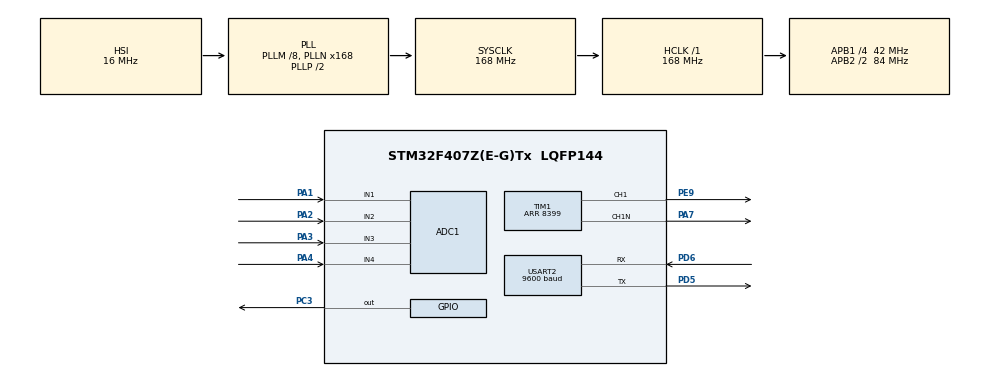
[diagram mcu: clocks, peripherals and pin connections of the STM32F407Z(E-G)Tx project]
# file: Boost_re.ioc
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ADC1.Channel-0\#ChannelRegularConversion=ADC_CHANNEL_1
ADC1.Channel-1\#ChannelRegularConversion=ADC_CHANNEL_2
ADC1.Channel-2\#ChannelRegularConversion=ADC_CHANNEL_3
ADC1.Channel-3\#ChannelRegularConversion=ADC_CHANNEL_4
ADC1.ContinuousConvMode=DISABLE
ADC1.DMAContinuousRequests=ENABLE
ADC1.DiscontinuousConvMode=DISABLE
ADC1.ExternalTrigConv=ADC_EXTERNALTRIGCONV_T3_TRGO
ADC1.InjNumberOfConversion=0
ADC1.NbrOfConversion=4
ADC1.NbrOfConversionFlag=1
ADC1.Rank-0\#ChannelRegularConversion=1
ADC1.Rank-1\#ChannelRegularConversion=2
ADC1.Rank-2\#ChannelRegularConversion=3
ADC1.Rank-3\#ChannelRegularConversion=4
ADC1.SamplingTime-0\#ChannelRegularConversion=ADC_SAMPLETIME_28CYCLES
ADC1.SamplingTime-1\#ChannelRegularConversion=ADC_SAMPLETIME_28CYCLES
ADC1.SamplingTime-2\#ChannelRegularConversion=ADC_SAMPLETIME_28CYCLES
ADC1.SamplingTime-3\#ChannelRegularConversion=ADC_SAMPLETIME_28CYCLES
ADC1.ScanConvMode=ENABLE
ADC1.master=1
Dma.ADC1.0.Direction=DMA_PERIPH_TO_MEMORY
Dma.ADC1.0.FIFOMode=DMA_FIFOMODE_DISABLE
Dma.ADC1.0.Instance=DMA2_Stream0
Dma.ADC1.0.MemDataAlignment=DMA_MDATAALIGN_HALFWORD
Dma.ADC1.0.MemInc=DMA_MINC_ENABLE
Dma.ADC1.0.Mode=DMA_CIRCULAR
Dma.ADC1.0.PeriphDataAlignment=DMA_PDATAALIGN_HALFWORD
Dma.ADC1.0.PeriphInc=DMA_PINC_DISABLE
Dma.ADC1.0.Priority=DMA_PRIORITY_LOW
Dma.Request0=ADC1
Mcu.Family=STM32F4
Mcu.Name=STM32F407Z(E-G)Tx
Mcu.Package=LQFP144
NVIC.ADC_IRQn=true\:0\:0\:false\:false\:true\:true\:true\:true
NVIC.DMA2_Stream0_IRQn=true\:2\:0\:true\:false\:true\:false\:true\:true
NVIC.PriorityGroup=NVIC_PRIORITYGROUP_4
NVIC.TIM3_IRQn=true\:0\:0\:false\:false\:true\:true\:true\:true
PA1.Signal=ADCx_IN1
PA13.Mode=Serial_Wire
PA13.Signal=SYS_JTMS-SWDIO
PA14.Mode=Serial_Wire
PA14.Signal=SYS_JTCK-SWCLK
PA2.Signal=ADCx_IN2
PA3.Signal=ADCx_IN3
PA4.Signal=ADCx_IN4
PA7.Mode=PWM Generation1 CH1 CH1N
PA7.Signal=TIM1_CH1N
PC3.PinState=GPIO_PIN_SET
PC3.Signal=GPIO_Output
PD5.Mode=Asynchronous
PD5.Signal=USART2_TX
PD6.Mode=Asynchronous
PD6.Signal=USART2_RX
PE9.Signal=S_TIM1_CH1
PH0-OSC_IN.Mode=HSE-External-Oscillator
PH0-OSC_IN.Signal=RCC_OSC_IN
PH1-OSC_OUT.Mode=HSE-External-Oscillator
PH1-OSC_OUT.Signal=RCC_OSC_OUT
ProjectManager.HeapSize=0x200
ProjectManager.StackSize=0x400
ProjectManager.TargetToolchain=CMake
RCC.48MHZClocksFreq_Value=84000000
RCC.AHBFreq_Value=168000000
RCC.APB1CLKDivider=RCC_HCLK_DIV4
RCC.APB1Freq_Value=42000000
RCC.APB1TimFreq_Value=84000000
RCC.APB2CLKDivider=RCC_HCLK_DIV2
RCC.APB2Freq_Value=84000000
RCC.APB2TimFreq_Value=168000000
RCC.CortexFreq_Value=168000000
RCC.HCLKFreq_Value=168000000
RCC.HSE_VALUE=25000000
RCC.HSI_VALUE=16000000
RCC.LSE_VALUE=32768
RCC.PLLM=8
RCC.PLLN=168
RCC.SYSCLKFreq_VALUE=168000000
RCC.SYSCLKSource=RCC_SYSCLKSOURCE_PLLCLK
RCC.VCOOutputFreq_Value=336000000
SH.ADCx_IN1.0=ADC1_IN1,IN1
SH.ADCx_IN2.0=ADC1_IN2,IN2
SH.ADCx_IN3.0=ADC1_IN3,IN3
SH.ADCx_IN4.0=ADC1_IN4,IN4
SH.S_TIM1_CH1.0=TIM1_CH1,PWM Generation1 CH1 CH1N
TIM1.AutoReloadPreload=TIM_AUTORELOAD_PRELOAD_ENABLE
TIM1.Channel-PWM\ Generation1\ CH1\ CH1N=TIM_CHANNEL_1
TIM1.DeadTime=84
TIM1.Period=8399
TIM1.Pulse-PWM\ Generation1\ CH1\ CH1N=1680-1
TIM3.AutoReloadPreload=TIM_AUTORELOAD_PRELOAD_ENABLE
TIM3.Period=999
TIM3.Prescaler=83
TIM3.TIM_MasterOutputTrigger=TIM_TRGO_UPDATE
USART2.BaudRate=9600
USART2.VirtualMode=VM_ASYNC
VP_TIM1_VS_ClockSourceINT.Mode=Internal
VP_TIM3_VS_ClockSourceINT.Mode=Internal
board=custom

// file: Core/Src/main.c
/* USER CODE BEGIN Header */
/**
  ******************************************************************************
  * @file           : main.c
  * @brief          : Main program body
  ******************************************************************************
  * @attention
  *
  * Copyright (c) 2026 STMicroelectronics.
  * All rights reserved.
  *
  * This software is licensed under terms that can be found in the LICENSE file
  * in the root directory of this software component.
  * If no LICENSE file comes with this software, it is provided AS-IS.
  *
  ******************************************************************************
  */
/* USER CODE END Header */
#include "main.h"
#include "adc.h"
#include "dma.h"
#include "tim.h"
#include "usart.h"
#include "gpio.h"

/* USER CODE BEGIN Includes */
#include "pid.h"
#include "math.h"
#include "stdio.h"
#include "string.h"

volatile uint16_t adc_dma[4];  //ADC DMA缓存数组
PID pid1;             //PID结构体
float my_adc[4];      //ADC测量值数组
float vin=0.0f;       //输入电压
float vout=0.0f;      //输出电压
float iin=0.0f;       //输入电流
float iout=0.0f;      //输出电流
float pwm=0.0f;       //PWM占空比

float target_vout = 20.0f;  //目标输出电压

char uart_buffer[100];  //UART发送缓存
uint32_t last_pid_tick = 0;  //上一次PID计算的时间戳

/* USER CODE END Includes */

void SystemClock_Config(void);

int main(void)
{

  /* MCU Configuration--------------------------------------------------------*/

  /* Reset of all peripherals, Initializes the Flash interface and the Systick. */
  HAL_Init();

  /* Configure the system clock */
  SystemClock_Config();

  /* Initialize all configured peripherals */
  MX_GPIO_Init();
  MX_DMA_Init();
  MX_TIM1_Init();
  MX_ADC1_Init();
  MX_USART2_UART_Init();
  MX_TIM3_Init();
  /* USER CODE BEGIN 2 */
  PID_Init(&pid1, 0.3f, 0.140f, 0.0f, 0.3f, -0.3f, 0.001f, Right); // 初始化 PID

  PIDSetpointSet(&pid1, target_vout); // 设置 PID 目标值为目标输出电压

  if (HAL_ADC_Start_DMA(&hadc1,                       // 启动ADC的DMA采样，if不只是判断，它会先执行括号里的函数
                      (uint32_t *)adc_dma,           // 指定DMA目标缓冲区
                      4) != HAL_OK)     // 指定一次DMA循环包含四个数据
{
    Error_Handler();                                // DMA启动失败时进入错误处理
}

  if (HAL_TIM_Base_Start(&htim3) != HAL_OK)   // 启动TIM3定时器，用于触发ADC采样
  {
    Error_Handler();
  }

  if (HAL_TIM_PWM_Start(&htim1, TIM_CHANNEL_1) != HAL_OK) // 启动TIM1主PWM输出
{
    Error_Handler();                                // 主PWM启动失败时进入错误处理
}

if (HAL_TIMEx_PWMN_Start(&htim1, TIM_CHANNEL_1) != HAL_OK) // 启动TIM1互补PWM输出
{
    Error_Handler();                                // 互补PWM启动失败时进入错误处理
}

  /* USER CODE END 2 */

  /* Infinite loop */
  /* USER CODE BEGIN WHILE */
  while (1)
  {

    sprintf(uart_buffer, "Vin: %.2f V, Vout: %.2f V, target_vout: %.2f\n", vin, vout, target_vout);
    // 格式化字符串，包含输入电压、输出电压和目标输出电压，方便在上位机或串口助手上查看
    HAL_UART_Transmit(&huart2, (uint8_t*)uart_buffer, strlen(uart_buffer), 100);
    // 通过 UART2 发送数据到串口助手，便于调试和监控系统状态

    /* USER CODE END WHILE */

  }
}

void SystemClock_Config(void)
{
  RCC_OscInitTypeDef RCC_OscInitStruct = {0};
  RCC_ClkInitTypeDef RCC_ClkInitStruct = {0};

  /** Configure the main internal regulator output voltage
  */
  __HAL_RCC_PWR_CLK_ENABLE();
  __HAL_PWR_VOLTAGESCALING_CONFIG(PWR_REGULATOR_VOLTAGE_SCALE1);

  /** Initializes the RCC Oscillators according to the specified parameters
  * in the RCC_OscInitTypeDef structure.
  */
  RCC_OscInitStruct.OscillatorType = RCC_OSCILLATORTYPE_HSI;
  RCC_OscInitStruct.HSIState = RCC_HSI_ON;
  RCC_OscInitStruct.HSICalibrationValue = RCC_HSICALIBRATION_DEFAULT;
  RCC_OscInitStruct.PLL.PLLState = RCC_PLL_ON;
  RCC_OscInitStruct.PLL.PLLSource = RCC_PLLSOURCE_HSI;
  RCC_OscInitStruct.PLL.PLLM = 8;
  RCC_OscInitStruct.PLL.PLLN = 168;
  RCC_OscInitStruct.PLL.PLLP = RCC_PLLP_DIV2;
  RCC_OscInitStruct.PLL.PLLQ = 4;
  if (HAL_RCC_OscConfig(&RCC_OscInitStruct) != HAL_OK)
  {
    Error_Handler();
  }

  /** Initializes the CPU, AHB and APB buses clocks
  */
  RCC_ClkInitStruct.ClockType = RCC_CLOCKTYPE_HCLK|RCC_CLOCKTYPE_SYSCLK
                              |RCC_CLOCKTYPE_PCLK1|RCC_CLOCKTYPE_PCLK2;
  RCC_ClkInitStruct.SYSCLKSource = RCC_SYSCLKSOURCE_PLLCLK;
  RCC_ClkInitStruct.AHBCLKDivider = RCC_SYSCLK_DIV1;
  RCC_ClkInitStruct.APB1CLKDivider = RCC_HCLK_DIV4;
  RCC_ClkInitStruct.APB2CLKDivider = RCC_HCLK_DIV2;

  if (HAL_RCC_ClockConfig(&RCC_ClkInitStruct, FLASH_LATENCY_5) != HAL_OK)
  {
    Error_Handler();
  }
}

/* USER CODE BEGIN 4 */
  void HAL_ADC_ConvCpltCallback(ADC_HandleTypeDef *hadc)
{
    if (hadc->Instance != ADC1)
    {
        return;
    }

    vin  = (float)adc_dma[0] * (3.3f * 12.0f / 4095.0f);
    vout = (float)adc_dma[1] * (3.3f * 16.0f / 4095.0f);
    iin  = (float)adc_dma[2] * (3.3f * 2.0f / 4095.0f);
    iout = (float)adc_dma[3] * (3.3f / 4095.0f);

    /*
     * 应先进行过压、过流、欠压和ADC合理性检查。
     * 故障时立即关闭PWM/驱动。
     */

    PID_Compute(&pid1, vout);  // 调用PID计算函数，使用当前输出电压作为输入

		pwm=(pid1.Output+0.3f)*8400;  // 将PID输出转换为PWM比较值CCR，范围从0到8400
		TIM1->CCR1=pwm;   // 将计算得到的PWM值写入定时器CCR寄存器，控制输出占空比
}
/* USER CODE END 4 */

void Error_Handler(void)
{
  __disable_irq();
  while (1)
  {
  }
}
